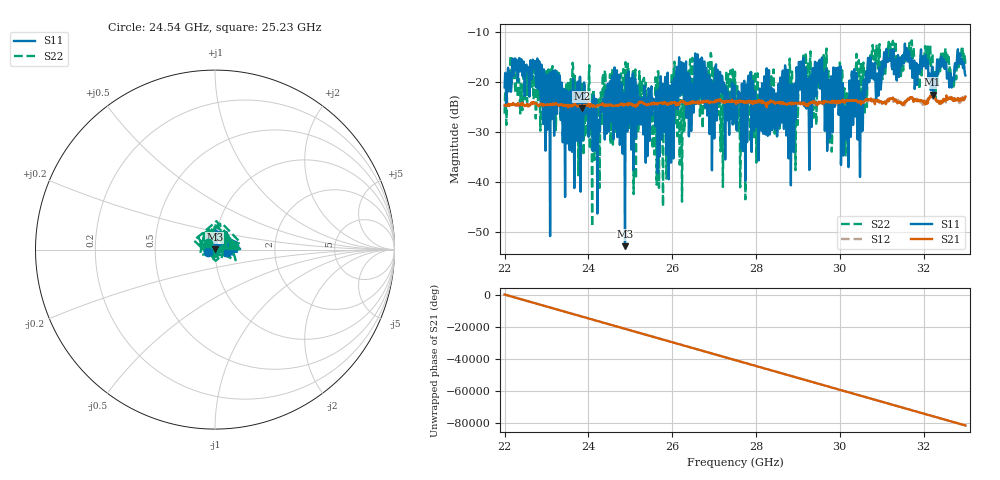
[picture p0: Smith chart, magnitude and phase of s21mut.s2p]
!Keysight Technologies,N5224B,MY57181201,A.12.70.07
!Date: Friday, July 15, 2022 16:06:41
!Correction: S11(Full 2 Port(1,2))
!S21(Full 2 Port(1,2))
!S12(Full 2 Port(1,2))
!S22(Full 2 Port(1,2))
!S2P File: Measurements: S11, S21, S12, S22:
# Hz S  dB  R 50
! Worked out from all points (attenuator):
!   801 points, 22 GHz to 33 GHz, reference 50 ohm
!   highest |S21| = -22.49 dB at 32.22 GHz (marker M1); lowest = -25.2 dB at 23.84 GHz (marker M2)
!   lowest |S11| = -52.9 dB at 24.87 GHz (marker M3), VSWR 1.00, Z = 49.9 + j0.179 ohm
!   |S11| at or under -10 dB: start of sweep to end of sweep
!   |S22| runs from -49.0 to -11.6 dB; largest |S21 - S12| = 0.0069
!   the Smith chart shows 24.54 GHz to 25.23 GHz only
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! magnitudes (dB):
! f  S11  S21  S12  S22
! 22 GHz  -21.1  -24.6  -24.7  -26.3
! 22.18 GHz  -16.7  -24.6  -24.6  -17.3
! 23.84 GHz  -22.5  -25.2  -25.2  -21.0
! 24.21 GHz  -46.3  -24.6  -24.7  -34.5
! 24.64 GHz  -29.4  -24.7  -24.7  -30.2
! 24.87 GHz  -52.9  -24.4  -24.4  -17.9
! 25.01 GHz  -19.4  -24.3  -24.7  -25.2
! 25.67 GHz  -26.4  -24.2  -24.2  -17.8
! 26.66 GHz  -15.5  -23.9  -24.0  -26.8
! 27.5 GHz  -27.9  -24.0  -23.9  -17.9
! 27.62 GHz  -22.4  -23.7  -23.7  -41.1
! 29.34 GHz  -21.3  -23.9  -24.1  -20.8
! 29.63 GHz  -19.8  -23.8  -24.2  -15.1
! 29.81 GHz  -24.3  -24.1  -24.0  -33.9
! 30.02 GHz  -16.8  -23.7  -23.6  -16.7
! 30.15 GHz  -30.0  -23.6  -23.7  -25.4
! 30.35 GHz  -17.4  -23.6  -23.9  -19.5
! 30.48 GHz  -39.0  -23.8  -23.7  -22.5
! 30.68 GHz  -15.1  -23.4  -23.5  -15.5
! 31.17 GHz  -15.2  -23.8  -23.4  -11.9
! 32.22 GHz  -16.9  -22.5  -23.3  -14.6
! 33 GHz  -18.7  -22.9  -23.0  -16.5
